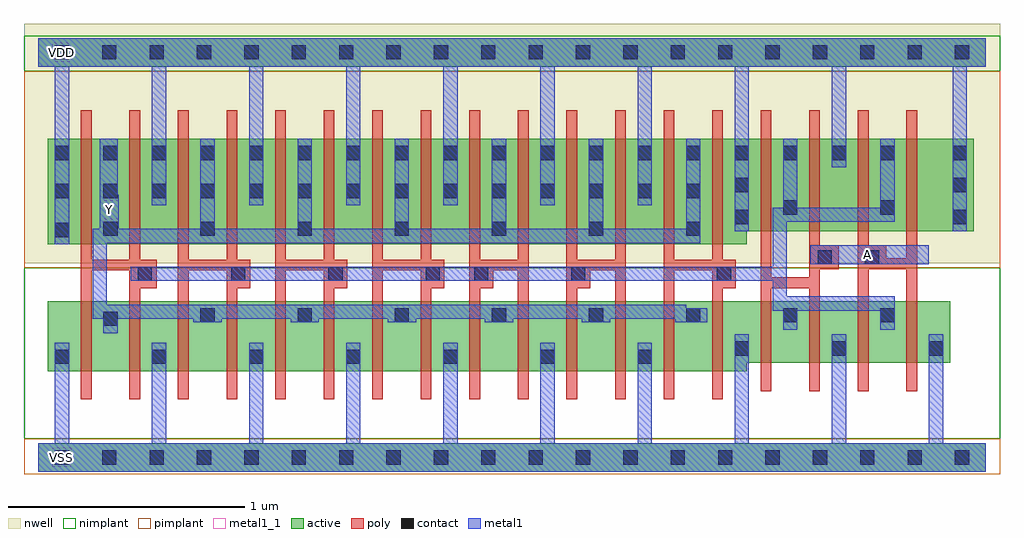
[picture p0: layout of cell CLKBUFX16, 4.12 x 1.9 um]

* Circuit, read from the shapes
.subckt CLKBUFX16 A VDD VSS Y
M1 Y n1 VSS VSS nfet w=0.295u l=0.045u m=14
M2 n1 A VSS VSS nfet w=0.26u l=0.045u m=4
M3 Y n1 VDD VDD pfet w=0.445u l=0.045u m=14
M4 n1 A VDD VDD pfet w=0.39u l=0.045u m=4
.ends

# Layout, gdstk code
import gdstk
lib = gdstk.Library(unit=1e-6, precision=5e-10)
def R(c, l, rs):  # rectangles x0, y0, x1, y1
    for r in rs: c.add(gdstk.rectangle(r[:2], r[2:], *l))
def A(c, l, x, y, w, h, nx, ny, dx, dy):  # array of equal rectangles
    R(c, l, [(x+i*dx, y+j*dy, x+i*dx+w, y+j*dy+h) for i in range(nx) for j in range(ny)])
def P(c, l, *ps):  # polygons
    for p in ps: c.add(gdstk.Polygon(p, *l))
active = (1, 0)
nwell = (2, 0)
poly = (3, 0)
nimplant = (4, 0)
pimplant = (5, 0)
contact = (6, 0)
metal1 = (7, 0)
metal1_1 = (7, 1)

clkbufx16 = lib.new_cell('CLKBUFX16')
R(clkbufx16, active, [(0,-0.06,4,0.06), (0,1.65,4,1.77)])
P(clkbufx16, active, [(0.04,1.345),(3.95,1.345),(3.95,0.955),(2.99,0.955),(2.99,0.9),(0.04,0.9)],
  [(0.04,0.66),(3.85,0.66),(3.85,0.4),(2.99,0.4),(2.99,0.365),(0.04,0.365)])
R(clkbufx16, nwell, [(-0.06,0.82,4.06,1.83)])
P(clkbufx16, poly, [(0.18,1.465),(0.225,1.465),(0.225,0.835),(0.385,0.835),(0.385,1.465),(0.43,1.465),(0.43,0.835),(0.5,0.835),(0.5,0.715),(0.43,0.715),(0.43,0.245),(0.385,0.245),(0.385,0.79),(0.225,0.79),(0.225,0.245),(0.18,0.245)],
  [(0.59,1.465),(0.635,1.465),(0.635,0.835),(0.795,0.835),(0.795,1.465),(0.84,1.465),(0.84,0.835),(0.895,0.835),(0.895,0.715),(0.84,0.715),(0.84,0.245),(0.795,0.245),(0.795,0.79),(0.635,0.79),(0.635,0.245),(0.59,0.245)],
  [(1,1.465),(1.045,1.465),(1.045,0.835),(1.205,0.835),(1.205,1.465),(1.25,1.465),(1.25,0.835),(1.305,0.835),(1.305,0.715),(1.25,0.715),(1.25,0.245),(1.205,0.245),(1.205,0.79),(1.045,0.79),(1.045,0.245),(1,0.245)],
  [(1.41,1.465),(1.455,1.465),(1.455,0.835),(1.615,0.835),(1.615,1.465),(1.66,1.465),(1.66,0.835),(1.715,0.835),(1.715,0.715),(1.66,0.715),(1.66,0.245),(1.615,0.245),(1.615,0.79),(1.455,0.79),(1.455,0.245),(1.41,0.245)],
  [(1.82,1.465),(1.865,1.465),(1.865,0.835),(2.025,0.835),(2.025,1.465),(2.07,1.465),(2.07,0.245),(2.025,0.245),(2.025,0.79),(1.92,0.79),(1.92,0.715),(1.865,0.715),(1.865,0.245),(1.82,0.245)],
  [(2.23,1.465),(2.275,1.465),(2.275,0.835),(2.435,0.835),(2.435,1.465),(2.48,1.465),(2.48,0.245),(2.435,0.245),(2.435,0.79),(2.33,0.79),(2.33,0.715),(2.275,0.715),(2.275,0.245),(2.23,0.245)],
  [(2.64,1.465),(2.685,1.465),(2.685,0.835),(2.845,0.835),(2.845,1.465),(2.89,1.465),(2.89,0.835),(2.945,0.835),(2.945,0.715),(2.89,0.715),(2.89,0.245),(2.845,0.245),(2.845,0.79),(2.685,0.79),(2.685,0.245),(2.64,0.245)],
  [(3.05,1.465),(3.095,1.465),(3.095,0.76),(3.255,0.76),(3.255,1.465),(3.3,1.465),(3.3,0.895),(3.38,0.895),(3.38,0.795),(3.3,0.795),(3.3,0.28),(3.255,0.28),(3.255,0.715),(3.095,0.715),(3.095,0.28),(3.05,0.28)],
  [(3.46,1.465),(3.505,1.465),(3.505,0.895),(3.58,0.895),(3.58,0.84),(3.665,0.84),(3.665,1.465),(3.71,1.465),(3.71,0.28),(3.665,0.28),(3.665,0.795),(3.505,0.795),(3.505,0.28),(3.46,0.28)])
R(clkbufx16, nimplant, [(-0.06,0.08,4.06,0.8), (-0.06,1.63,4.06,1.78)])
R(clkbufx16, pimplant, [(-0.06,-0.07,4.06,0.08), (-0.06,0.8,4.06,1.63)])
A(clkbufx16, contact, 0.07, -0.03, 0.06, 0.06, 20, 2, 0.2, 1.71)
A(clkbufx16, contact, 0.07, 0.395, 0.06, 0.06, 7, 1, 0.41, 0)
A(clkbufx16, contact, 2.94, 0.43, 0.06, 0.06, 3, 1, 0.41, 0)
A(clkbufx16, contact, 0.685, 0.57, 0.06, 0.06, 8, 1, 0.41, 0)
A(clkbufx16, contact, 0.815, 0.745, 0.06, 0.06, 3, 1, 0.41, 0)
A(clkbufx16, contact, 0.275, 0.935, 0.06, 0.06, 7, 1, 0.41, 0)
A(clkbufx16, contact, 3.86, 0.985, 0.06, 0.06, 1, 3, 0, 0.135)
A(clkbufx16, contact, 0.07, 1.095, 0.06, 0.06, 14, 1, 0.205, 0)
A(clkbufx16, contact, 0.07, 1.255, 0.06, 0.06, 18, 1, 0.205, 0)
R(clkbufx16, contact, [(0.275,0.555,0.335,0.615), (0.42,0.745,0.48,0.805), (1.84,0.745,1.9,0.805), (2.25,0.745,2.31,0.805), (2.865,0.745,2.925,0.805), (3.29,0.815,3.35,0.875), (3.49,0.815,3.55,0.875), (0.07,0.93,0.13,0.99), (2.94,0.985,3,1.045), (3.145,1.025,3.205,1.085), (3.555,1.025,3.615,1.085), (2.94,1.12,3,1.18)])
R(clkbufx16, metal1, [(3.26,0.815,3.76,0.895)])
P(clkbufx16, metal1, [(0,1.77),(4,1.77),(4,1.65),(3.92,1.65),(3.92,0.955),(3.86,0.955),(3.86,1.65),(3.41,1.65),(3.41,1.225),(3.35,1.225),(3.35,1.65),(3,1.65),(3,0.955),(2.94,0.955),(2.94,1.65),(2.59,1.65),(2.59,1.065),(2.53,1.065),(2.53,1.65),(2.18,1.65),(2.18,1.065),(2.12,1.065),(2.12,1.65),(1.77,1.65),(1.77,1.065),(1.71,1.065),(1.71,1.65),(1.36,1.65),(1.36,1.065),(1.3,1.065),(1.3,1.65),(0.95,1.65),(0.95,1.065),(0.89,1.065),(0.89,1.65),(0.54,1.65),(0.54,1.065),(0.48,1.065),(0.48,1.65),(0.13,1.65),(0.13,0.9),(0.07,0.9),(0.07,1.65),(0,1.65)],
  [(0.26,1.345),(0.335,1.345),(0.335,1.11),(0.34,1.11),(0.34,0.965),(0.685,0.965),(0.685,1.345),(0.745,1.345),(0.745,0.965),(1.095,0.965),(1.095,1.345),(1.155,1.345),(1.155,0.965),(1.505,0.965),(1.505,1.345),(1.565,1.345),(1.565,0.965),(1.915,0.965),(1.915,1.345),(1.975,1.345),(1.975,0.965),(2.325,0.965),(2.325,1.345),(2.385,1.345),(2.385,0.965),(2.735,0.965),(2.735,1.345),(2.795,1.345),(2.795,0.905),(0.29,0.905),(0.29,0.645),(2.735,0.645),(2.735,0.63),(2.825,0.63),(2.825,0.57),(2.69,0.57),(2.69,0.585),(2.415,0.585),(2.415,0.57),(2.295,0.57),(2.295,0.585),(2.005,0.585),(2.005,0.57),(1.885,0.57),(1.885,0.585),(1.595,0.585),(1.595,0.57),(1.475,0.57),(1.475,0.585),(1.185,0.585),(1.185,0.57),(1.065,0.57),(1.065,0.585),(0.775,0.585),(0.775,0.57),(0.655,0.57),(0.655,0.585),(0.335,0.585),(0.335,0.525),(0.275,0.525),(0.275,0.585),(0.23,0.585),(0.23,0.965),(0.26,0.965)],
  [(3.145,1.345),(3.205,1.345),(3.205,1.055),(3.555,1.055),(3.555,1.345),(3.615,1.345),(3.615,0.995),(3.16,0.995),(3.16,0.68),(3.615,0.68),(3.615,0.54),(3.555,0.54),(3.555,0.62),(3.205,0.62),(3.205,0.54),(3.145,0.54),(3.145,0.62),(3.1,0.62),(3.1,0.745),(0.39,0.745),(0.39,0.805),(3.1,0.805),(3.1,1.055),(3.145,1.055)],
  [(0.07,0.485),(0.13,0.485),(0.13,0.06),(0.48,0.06),(0.48,0.485),(0.54,0.485),(0.54,0.06),(0.89,0.06),(0.89,0.485),(0.95,0.485),(0.95,0.06),(1.3,0.06),(1.3,0.485),(1.36,0.485),(1.36,0.06),(1.71,0.06),(1.71,0.485),(1.77,0.485),(1.77,0.06),(2.12,0.06),(2.12,0.485),(2.18,0.485),(2.18,0.06),(2.53,0.06),(2.53,0.485),(2.59,0.485),(2.59,0.06),(2.94,0.06),(2.94,0.52),(3,0.52),(3,0.06),(3.35,0.06),(3.35,0.52),(3.41,0.52),(3.41,0.06),(3.76,0.06),(3.76,0.52),(3.82,0.52),(3.82,0.06),(4,0.06),(4,-0.06),(0,-0.06),(0,0.06),(0.07,0.06)])
R(clkbufx16, metal1_1, [(0.06,-0.04,0.14,0.04), (3.46,0.815,3.54,0.895), (0.26,1.005,0.34,1.085), (0.06,1.67,0.14,1.75)])
clkbufx16.add(gdstk.Label('Y', (0.3,1.045), layer=7, texttype=1))
clkbufx16.add(gdstk.Label('A', (3.5,0.855), layer=7, texttype=1))
clkbufx16.add(gdstk.Label('VDD', (0.1,1.71), layer=7, texttype=1))
clkbufx16.add(gdstk.Label('VSS', (0.1,0), layer=7, texttype=1))
clkbufx16.add(gdstk.Label('CLKBUFX16', (0,0), layer=63, texttype=0))

lib.write_gds('CLKBUFX16.gds')
